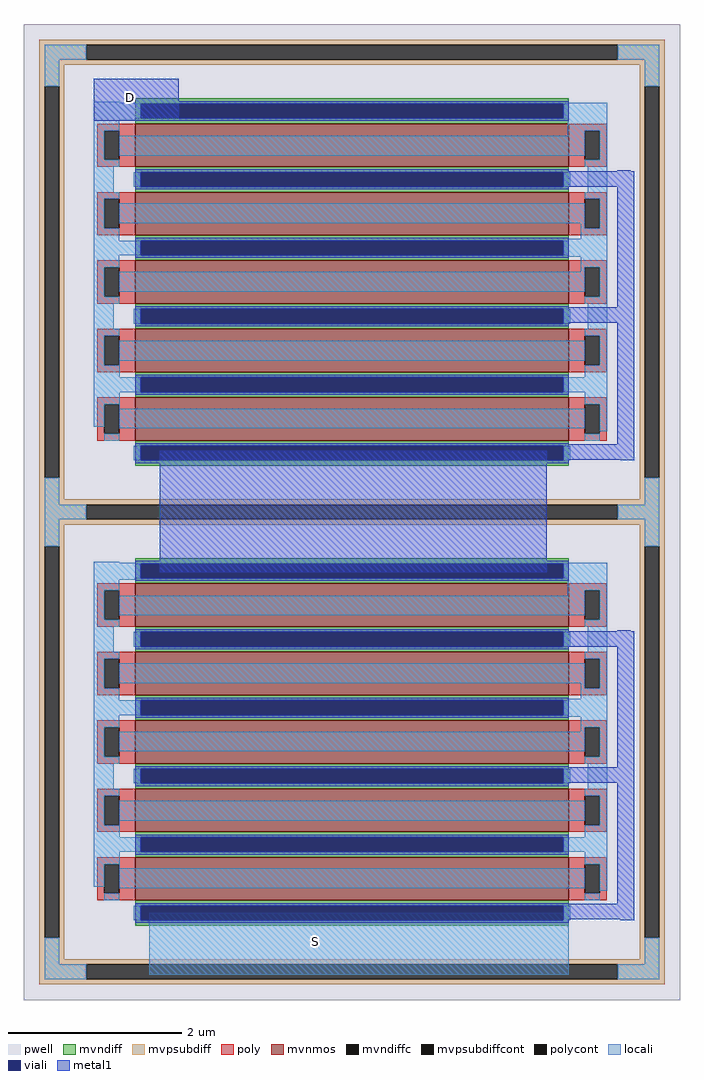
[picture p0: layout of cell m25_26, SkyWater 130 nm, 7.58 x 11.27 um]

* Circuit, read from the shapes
.subckt m25_26 D S
XM1 n1 n1 S S sky130_fd_pr__nfet_g5v0d10v5 w=5 l=0.5 m=5
XM2 D D n1 S sky130_fd_pr__nfet_g5v0d10v5 w=5 l=0.5 m=5
.ends

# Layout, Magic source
magic
tech sky130A
<< locali >>
rect 68 49 552 121
<< metal1 >>
rect 4 1035 102 1084
rect 80 514 527 654
use sky130_fd_pr__nfet_g5v0d10v5_CMNTPV  sky130_fd_pr__nfet_g5v0d10v5_CMNTPV_0
transform 0 1 302 -1 0 318
box -298 -379 298 379
use sky130_fd_pr__nfet_g5v0d10v5_CMNTPV  sky130_fd_pr__nfet_g5v0d10v5_CMNTPV_1
transform 0 1 302 -1 0 849
box -298 -379 298 379
<< labels >>
flabel locali 260 88 260 88 0 FreeSans 400 0 0 0 S
flabel metal1 46 1062 46 1062 0 FreeSans 400 0 0 0 D
<< end >>

# cell sky130_fd_pr__nfet_g5v0d10v5_CMNTPV: kit device sky130_fd_pr__nfet_g5v0d10v5, w 5 l 0.50 m 1 nf 5 diffcov 100 polycov 100 guard 1 glc 1 grc 1 gtc 1 gbc 1 tbcov 100 rlcov 100 topc 1 botc 1 poverlap 0 doverlap 1 lmin 0.50 wmin 0.42 class mosfet compatible {sky130_fd_pr__nfet_01v8 sky130_fd_pr__nfet_01v8_lvt sky130_fd_bs_flash__special_sonosfet_star sky130_fd_pr__nfet_g5v0d10v5 sky130_fd_pr__nfet_05v0_nvt sky130_fd_pr__nfet_03v3_nvt} full_metal 1 conn_gates 0 viasrc 100 viadrn 100 viagate 100 viagb 0 viagr 0 viagl 0 viagt 0 doports 1
